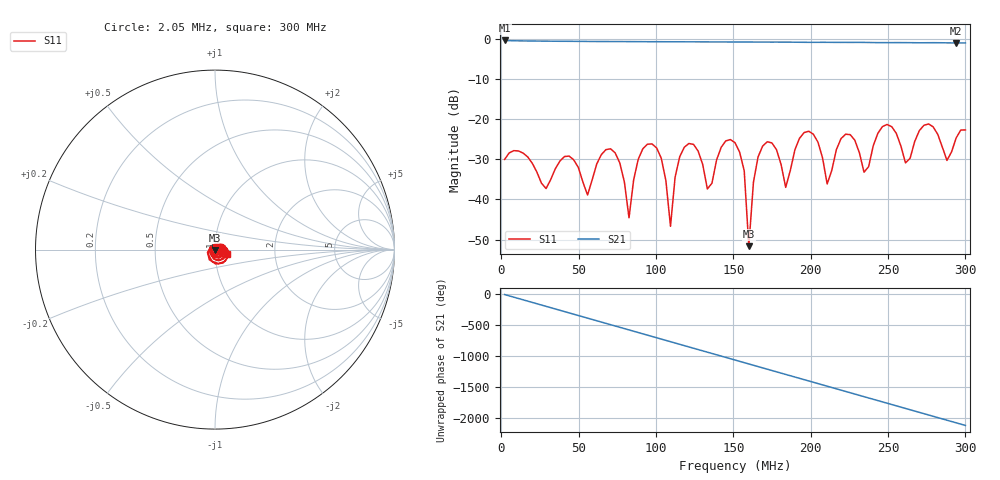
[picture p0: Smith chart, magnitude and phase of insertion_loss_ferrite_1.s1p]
# Hz S RI R 50
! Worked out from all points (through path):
!   101 points, 2.05 MHz to 300 MHz, reference 50 ohm
!   highest |S21| = -0.39 dB at 2.05 MHz (marker M1); lowest = -1.0 dB at 294 MHz (marker M2)
!   group delay of S21, straight-line fit = 19.6 ns
!   lowest |S11| = -51.6 dB at 160 MHz (marker M3), VSWR 1.01, Z = 49.9 - j0.232 ohm
!   |S11| at or under -10 dB: start of sweep to end of sweep
!   S12 and S22 are empty: the file has one direction only
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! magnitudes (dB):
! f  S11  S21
! 2.05 MHz  -30.0  -0.4
! 52.7 MHz  -35.7  -0.6
! 70.58 MHz  -27.4  -0.7
! 82.5 MHz  -44.6  -0.7
! 91.44 MHz  -27.4  -0.7
! 103.4 MHz  -29.7  -0.7
! 109.3 MHz  -46.7  -0.7
! 118.3 MHz  -27.0  -0.7
! 133.1 MHz  -37.4  -0.8
! 151 MHz  -25.9  -0.8
! 157 MHz  -32.8  -0.8
! 160 MHz  -51.6  -0.8
! 168.9 MHz  -26.7  -0.8
! 183.8 MHz  -37.0  -0.8
! 201.7 MHz  -23.7  -0.9
! 210.6 MHz  -36.1  -0.9
! 222.5 MHz  -23.7  -0.9
! 234.5 MHz  -33.2  -0.9
! 252.3 MHz  -21.9  -0.9
! 261.3 MHz  -30.9  -0.9
! 294 MHz  -24.7  -1.0
! 300 MHz  -22.7  -1.0
